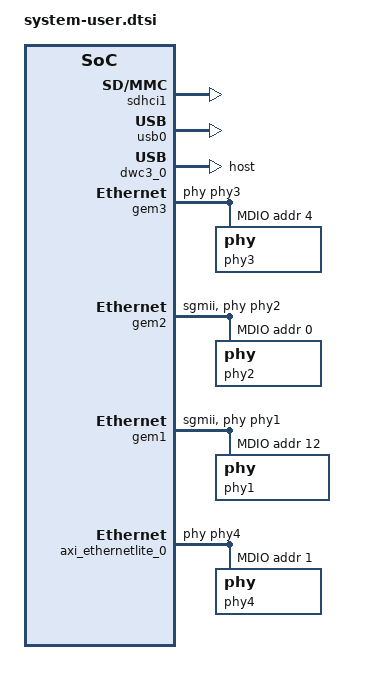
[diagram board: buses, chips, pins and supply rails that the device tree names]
/include/ "system-conf.dtsi"
#include <dt-bindings/phy/phy.h>
/ {
        chosen {
                bootargs = "console=ttyPS0,115200 debug clk_ignore_unused earlyprintk root=/dev/mmcblk1p2 rw rootwait uio_pdrv_genirq.of_id=generic-uio";
                stdout-path = "serial0:115200n8";
        };

	aliases {
                ethernet0 = &gem2;
                ethernet1 = &gem1;
                ethernet2 = &gem3;
                ethernet3 = &axi_ethernetlite_0;

                serial0 = &uart0;
		serial1 = &uart1;
//                serial2 = &PL_UART3;
//                serial3 = &PL_UART4;
//                serial4 = &PL_UART1;
	};
};

/* emmc ok */
&sdhci0 {
    no-1-8-v;
};

/* sd card ok */
&sdhci1 {
    clock-frequency = <52000000>;
    status = "okay";
    xlnx,has-cd = <0x1>;
    xlnx,has-power = <0x0>;
    xlnx,has-wp = <0x1>;
    disable-wp;
    no-1-8-v;
};


&usb0 {
    clocks = <0x3 0x20>;
    clock-names = "bus_clk";
    status = "okay";
};

&dwc3_0 {
    status = "okay";
    dr_mode = "host";
};

&gem3 {
    local-mac-address = [10 AB DC 3E 03 51];
    phy-handle = <&phy3>;
    xlnx,has-mdio = <0x1>;
    psu_ethernet_3_mdio: mdio {
        compatiable = "cdns,macb-mdio";
        #address-cells = <1>;
        #size-cells = <0>;
        phy3: phy@4 {
            device_type = "ethernet-phy";
            reg = <0x04>;
        };
    };
};

&gem2 {
    local-mac-address = [00 AB DC 3E 02 51];
    phy-handle = <&phy2>;
    phy-mode = "sgmii";
    phy-reset-gpio = <&gpio 416 1>;
    phy-reset-active-low;
    xlnx,has-mdio = <0x1>;
    is-internal-pcspma = "true";
    psu_ethernet_2_mdio: mdio {
        compatiable = "cdns,macb-mdio";
        #address-cells = <1>;
        #size-cells = <0>;
        phy2: phy@0 {
            reg = <0>;
            device_type = "ethernet-phy";
            ti,rx-internal-delay = <0x8>;
            ti,tx-internal-delay = <0xa>;
            ti,fifo-depth = <0x1>;
            ti,dp83867-rxctrl-strap-quirk;
        };
    };
};

&gem1 {
    local-mac-address = [00 AB DC 3E 01 51];
    phy-handle = <&phy1>;
    phy-mode = "sgmii";
    phy-reset-gpio = <&gpio 418 1>;
    phy-reset-active-low;
    xlnx,has-mdio = <0x1>;
    is-internal-pcspma = "true";
    psu_ethernet_1_mdio: mdio {
        compatiable = "cdns,macb-mdio";
        #address-cells = <1>;
        #size-cells = <0>;
        phy1: phy@c {
            reg = <0x0C>;
            device_type = "ethernet-phy";
            ti,rx-internal-delay = <0x8>;
            ti,tx-internal-delay = <0xa>;
            ti,fifo-depth = <0x1>;
            ti,dp83867-rxctrl-strap-quirk;
        };
    };
};

&gem0 {
    status = "disabled";
};

&axi_ethernetlite_0 {
    local-mac-address = [00 0a 35 00 22 13];
    phy-handle = <&phy4>;
    //status = "disabled";
    xlnx,has-mdio = <0x1>;
    mdio {
        phy4: phy@1 {
            device_type = "ethernet-phy";
            reg = <0x1>;
        };
    };
};

&audio_codec_ctrl_0 {
    compatible = "generic-uio";
};

#if 0
&amba {
    ref25: ref25M {
        compatible = "fixed-clock";
        #clock-cells = <0>;
        clock-frequency = <25000000>;
    };
};

&i2c0 {
    si5338: clock-generator@70 {
        compatible = "silabs,si5338";
        status = "disabled";
        reg = <0x70>;
        #address-cells = <1>;
        #size-cells = <0>;
        #clock-cells = <1>;

        clocks = <0>, <0>, <&ref25>, <0>, <0>;
        clock-names = "xtal", "in12", "in3", "in4", "in56";

        silab,ref-source = <SI5338_REF_SRC_CLKIN3>;
        silab,fb-source = <SI5338_FB_SRC_NOCLK>;
        silab,pll-source = <SI5338_PFD_IN_REF_REFCLK>;

        /* output */
        clkout0@0 {
            reg = <0>;
            silabs,drive-config = "1V8_LVDS";
            silabs,clock-source = <SI5338_OUT_MUX_MSN>;
            silabs,disable-state = <SI5338_OUT_DIS_HIZ>;
            clock-frequency = <125000000>;
        };
        clkout1@1 {
            reg = <1>;
            silabs,drive-config = "1V8_LVDS";
            silabs,clock-source = <SI5338_OUT_MUX_MSN>;
            silabs,disable-state = <SI5338_OUT_DIS_HIZ>;
            clock-frequency = <125000000>;
        };
        clkout2@2 {
            reg = <2>;
            silabs,drive-config = "1V8_LVDS";
            silabs,clock-source = <SI5338_OUT_MUX_MSN>;
            silabs,disable-state = <SI5338_OUT_DIS_HIZ>;
            clock-frequency = <125000000>;
            enabled;
        };
        clkout3@3 {
            reg = <3>;
            silabs,drive-config = "1V8_LVDS";
            silabs,clock-source = <SI5338_OUT_MUX_MSN>;
            silabs,disable-state = <SI5338_OUT_DIS_HIZ>;
            clock-frequency = <125000000>;
            enabled;
        };
    };
};
#endif

#if 0
/ {
    fpga_axi: fpga-axi@0 {
        interrupt-parent = <&gic>;
        compatible = "simple-bus";
        #address-cells = <0x2>;
        #size-cells = <0x1>;
        ranges = <0 0 0 0 0xffffffff>;

        axi_rx_dma: axi_dmac@a00b1000 {
            compatible = "adi,axi-dmac-1.00.a";
            reg = <0x0 0xa00b1000 0x1000>;
            #dma-cells = <0x1>;
            #clock-cells = <0x0>;
            interrupts = <0 95 0>;
            clocks = <&clk 71>;

            adi,channels {
                #size-cells = <0x0>;
                #address-cells = <0x1>;

                dma-channel@0 {
                    reg = <0x0>;
                    adi,source-bus-width = <0x20>;
                    adi,source-bus-type = <0x1>;
                    adi,destination-bus-width = <0x40>;
                    adi,destination-bus-type = <0x0>;
                };
            };
        };

        axi_tx_dma: axi_dmac@a00b0000 {
            compatible = "adi,axi-dmac-1.00.a";
            reg = <0x0 0xa00b0000 0x1000>;
            #dma-cells = <0x1>;
            #clock-cells = <0x0>;
            interrupts = <0 96 0>;
            clocks = <&clk 71>;

            adi,channels {
                #size-cells = <0x0>;
                #address-cells = <0x1>;

                dma-channel@0 {
                    reg = <0x0>;
                    adi,source-bus-width = <0x40>;
                    adi,source-bus-type = <0x0>;
                    adi,destination-bus-width = <0x20>;
                    adi,destination-bus-type = <0x1>;
                };
            };
        };
    };
};
&axi_i2s_adi_0 {
        compatible = "adi,axi-i2s-1.00.a";
        reg = <0 0xa0020000 0 0x10000>;
        dmas = <&axi_rx_dma 0 &axi_tx_dma 1>;
        dma-names = "rx", "tx";
        clocks = <&clk 71>, <&audio_clock>, <&audio_clock>;
        clock-names = "axi", "ref", "i2s";

        #sound-dai-cells = <0>;
};

&i2c1 {
    adau1761: adau1761@3b {
        compatible = "adi,adau1761";
        reg = <0x3b>;
        clocks = <&audio_clock>;
        clock-names = "mclk";
        #sound-dai-cells = <0>;
    };

};

&amba_pl {
    audio_clock: audio_clock {
        compatible = "fixed-clock";
        #clock-cells = <0>;
        clock-frequency = <12288000>;
    };

    ab_sound {
        compatible = "simple-audio-card";
        simple-audio-card,name = "AB ADAU1761";
        simple-audio-card,widgets =
                "Microphone", "Mic In",
                "Headphone", "Headphone Out",
                "Line", "Line In",
                "Line", "Line Out";
        simple-audio-card,routing =
                "Line Out", "LOUT",
                "Line Out", "ROUT",
                "Headphone Out", "LHP",
                "Headphone Out", "RHP",
                "Mic In", "MICBIAS",
                "LINN", "Mic In",
                "RINN", "Mic In",
                "LAUX", "Line In",
                "RAUX", "Line In";

        simple-audio-card,dai-link@0 {
                format = "i2s";
                cpu {
                        sound-dai = <&axi_i2s_adi_0>;
                        frame-master;
                        bitclock-master;
                };
                codec {
                        sound-dai = <&adau1761>;
                };
        };
    };
};

#endif
#if 0
&amba_pl {
    /delete-node/ axi_dmac@a00b0000;
    /delete-node/ axi_dmac@a00b1000;
};

#endif
